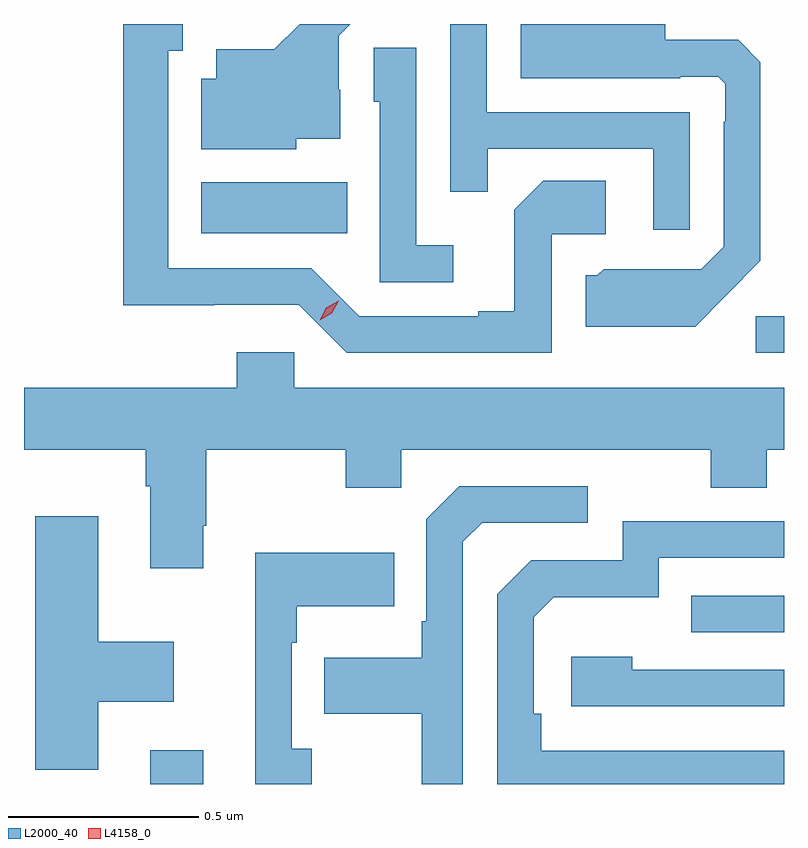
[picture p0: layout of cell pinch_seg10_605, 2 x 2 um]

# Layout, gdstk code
import gdstk
lib = gdstk.Library(unit=1e-6, precision=1e-09)
def R(c, l, rs):  # rectangles x0, y0, x1, y1
    for r in rs: c.add(gdstk.rectangle(r[:2], r[2:], *l))
def P(c, l, *ps):  # polygons
    for p in ps: c.add(gdstk.Polygon(p, *l))
L2000_40 = (2000, 40)
L4158_0 = (4158, 0)

pinch_seg10_605 = lib.new_cell('pinch_seg10_605')
R(pinch_seg10_605, L2000_40, [(333.707,1284.785,333.847,1284.874), (335.131,1285.185,335.375,1285.281), (335.301,1285.92,335.375,1286.016), (333.842,1286.234,334.226,1286.368)])
P(pinch_seg10_605, L2000_40, [(335.221,1286.069),(335.313,1286.162),(335.313,1286.684),(335.254,1286.743),(335.062,1286.743),(335.062,1286.785),(334.682,1286.785),(334.682,1286.642),(335.102,1286.642),(335.102,1286.646),(335.202,1286.646),(335.22,1286.628),(335.22,1286.528),(335.217,1286.528),(335.217,1286.199),(335.157,1286.139),(335.034,1286.139),(335.034,1286.14),(334.9,1286.14),(334.884,1286.124),(334.853,1286.124),(334.853,1285.988),(335.141,1285.988)],
  [(334.764,1286.232),(334.906,1286.232),(334.906,1286.372),(334.741,1286.372),(334.665,1286.296),(334.665,1286.029),(334.571,1286.029),(334.571,1286.016),(334.257,1286.016),(334.131,1286.142),(333.754,1286.142),(333.754,1286.715),(333.793,1286.715),(333.793,1286.785),(333.636,1286.785),(333.636,1286.045),(333.876,1286.045),(333.876,1286.046),(334.098,1286.046),(334.224,1285.92),(334.764,1285.92)],
  [(334.092,1286.483),(334.207,1286.483),(334.207,1286.612),(334.203,1286.612),(334.203,1286.754),(334.234,1286.785),(334.1,1286.785),(334.033,1286.719),(333.881,1286.719),(333.881,1286.641),(333.842,1286.641),(333.842,1286.456),(334.092,1286.456)],
  [(335.127,1286.553),(334.593,1286.553),(334.593,1286.785),(334.497,1286.785),(334.497,1286.344),(334.595,1286.344),(334.595,1286.457),(335.031,1286.457),(335.031,1286.244),(335.127,1286.244)],
  [(334.504,1286.203),(334.407,1286.203),(334.407,1286.723),(334.296,1286.723),(334.296,1286.58),(334.311,1286.58),(334.311,1286.106),(334.504,1286.106)],
  [(333.847,1285.465),(333.855,1285.465),(333.855,1285.664),(334.222,1285.664),(334.222,1285.565),(334.368,1285.565),(334.368,1285.664),(335.182,1285.664),(335.182,1285.565),(335.329,1285.565),(335.329,1285.664),(335.375,1285.664),(335.375,1285.828),(334.086,1285.828),(334.086,1285.921),(333.935,1285.921),(333.935,1285.828),(333.375,1285.828),(333.375,1285.664),(333.695,1285.664),(333.695,1285.568),(333.707,1285.568),(333.707,1285.353),(333.847,1285.353)],
  [(334.53,1285.422),(334.581,1285.473),(334.858,1285.473),(334.858,1285.569),(334.521,1285.569),(334.434,1285.482),(334.434,1285.213),(334.422,1285.213),(334.422,1285.117),(334.165,1285.117),(334.165,1284.97),(334.422,1284.97),(334.422,1284.785),(334.53,1284.785)],
  [(333.571,1285.001),(333.769,1285.001),(333.769,1285.159),(333.571,1285.159),(333.571,1285.489),(333.404,1285.489),(333.404,1284.822),(333.571,1284.822)],
  [(335.375,1284.873),(334.736,1284.873),(334.736,1284.97),(334.716,1284.97),(334.716,1285.224),(334.769,1285.277),(335.046,1285.277),(335.046,1285.38),(335.375,1285.38),(335.375,1285.476),(334.95,1285.476),(334.95,1285.374),(334.71,1285.374),(334.62,1285.284),(334.62,1284.785),(335.375,1284.785)],
  [(334.132,1284.878),(334.08,1284.878),(334.08,1285.157),(334.093,1285.157),(334.093,1285.253),(334.349,1285.253),(334.349,1285.393),(333.983,1285.393),(333.983,1284.785),(334.132,1284.785)],
  [(335.375,1285.086),(334.976,1285.086),(334.976,1285.12),(334.815,1285.12),(334.815,1284.99),(335.375,1284.99)])
P(pinch_seg10_605, L4158_0, [(334.153,1286.005),(334.153,1286.006),(334.171,1286.038),(334.203,1286.057),(334.203,1286.057),(334.203,1286.057),(334.185,1286.024),(334.153,1286.005)])

lib.write_gds('pinch_seg10_605.gds')
